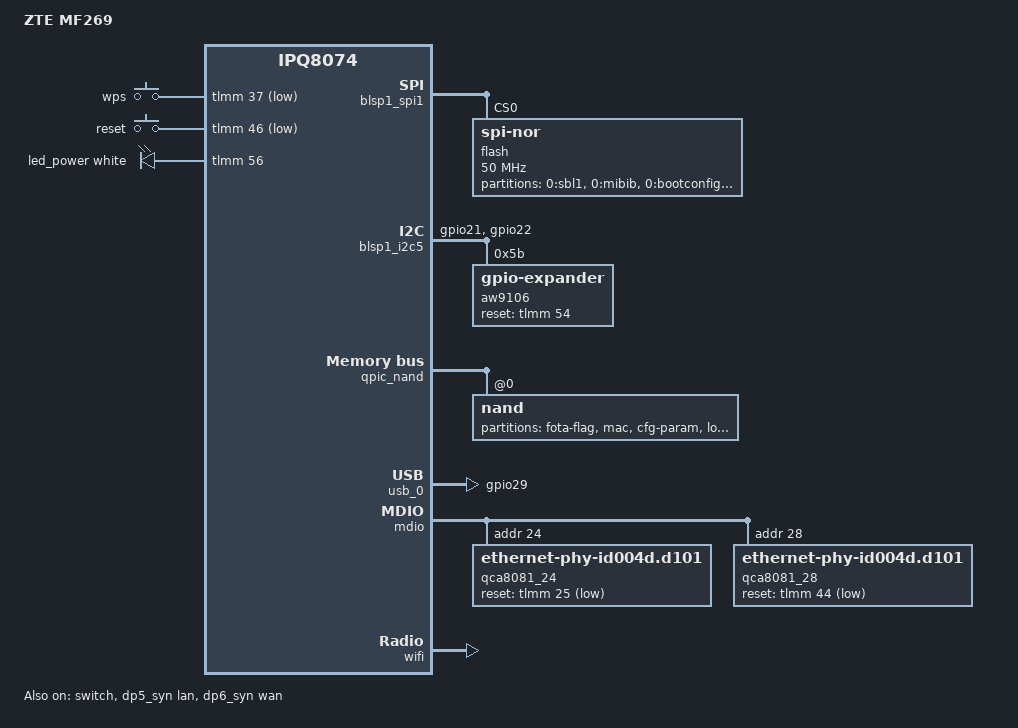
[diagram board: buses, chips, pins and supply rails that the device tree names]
// SPDX-License-Identifier: GPL-2.0-or-later OR MIT

/dts-v1/;

#include "ipq8074.dtsi"
#include "ipq8074-ess.dtsi"
#include "ipq8074-nss.dtsi"
#include "ipq8074-common.dtsi"
#include "ipq8074-ac-cpu.dtsi"

#include <dt-bindings/gpio/gpio.h>
#include <dt-bindings/input/input.h>
#include <dt-bindings/leds/common.h>

/ {
	model = "ZTE MF269";
	compatible = "zte,mf269", "qcom,ipq8074";

	aliases {
		serial0 = &blsp1_uart5;

		led-boot = &led_power;
		led-failsafe = &led_power;
		led-running = &led_power;
		led-upgrade = &led_power;

		label-mac-device = &dp6_syn;
	};

	chosen {
		stdout-path = "serial0:115200n8";
		bootargs-append = " root=/dev/ubiblock0_0";
	};

	keys {
		compatible = "gpio-keys";

		wps {
			label = "wps";
			linux,code = <KEY_WPS_BUTTON>;
			gpios = <&tlmm 37 GPIO_ACTIVE_LOW>;
		};

		reset {
			label = "reset";
			linux,code = <KEY_RESTART>;
			gpios = <&tlmm 46 GPIO_ACTIVE_LOW>;
		};
	};

	leds {
		compatible = "gpio-leds";

		led_power: power {
			function = LED_FUNCTION_POWER;
			color = <LED_COLOR_ID_WHITE>;
			gpios = <&tlmm 56 GPIO_ACTIVE_HIGH>;
		};
	};
};

&tlmm {
	i2c_pins: i2c-pins {
		pins = "gpio21", "gpio22";
		function = "blsp4_i2c1";
		drive-strength = <8>;
		bias-disable;
	};

	usb_pwr_pins: usb-pwr-pins {
		pins = "gpio29";
		function = "gpio";
		drive-strength = <8>;
		bias-disable;
		output-high;
	};
};

&blsp1_spi1 {
	status = "okay";

	flash@0 {
		compatible = "jedec,spi-nor";
		spi-max-frequency = <50000000>;
		reg = <0>;

		partitions {
			compatible = "fixed-partitions";
			#address-cells = <1>;
			#size-cells = <1>;

			partition@0 {
				label = "0:sbl1";
				reg = <0x00000000 0x00050000>;
				read-only;
			};

			partition@50000 {
				label = "0:mibib";
				reg = <0x00050000 0x00010000>;
				read-only;
			};

			partition@60000 {
				label = "0:bootconfig";
				reg = <0x00060000 0x00020000>;
				read-only;
			};

			partition@80000 {
				label = "0:bootconfig1";
				reg = <0x00080000 0x00020000>;
				read-only;
			};

			partition@a0000 {
				label = "0:qsee";
				reg = <0x000a0000 0x00180000>;
				read-only;
			};

			partition@220000 {
				label = "0:qsee_1";
				reg = <0x00220000 0x00180000>;
				read-only;
			};

			partition@3a0000 {
				label = "0:devcfg";
				reg = <0x003a0000 0x00010000>;
				read-only;
			};

			partition@3b0000 {
				label = "0:devcfg_1";
				reg = <0x003b0000 0x00010000>;
				read-only;
			};

			partition@3c0000 {
				label = "0:apdp";
				reg = <0x003c0000 0x00010000>;
				read-only;
			};

			partition@3d0000 {
				label = "0:apdp_1";
				reg = <0x003d0000 0x00010000>;
				read-only;
			};

			partition@3e0000 {
				label = "0:rpm";
				reg = <0x003e0000 0x00040000>;
				read-only;
			};

			partition@420000 {
				label = "0:rpm_1";
				reg = <0x00420000 0x00040000>;
				read-only;
			};

			partition@460000 {
				label = "0:cdt";
				reg = <0x00460000 0x00010000>;
				read-only;
			};

			partition@470000 {
				label = "0:cdt_1";
				reg = <0x00470000 0x00010000>;
				read-only;
			};

			partition@480000 {
				label = "0:appsblenv";
				reg = <0x00480000 0x00010000>;
			};

			partition@490000 {
				label = "0:appsbl";
				reg = <0x00490000 0x000c0000>;
				read-only;
			};

			partition@550000 {
				label = "0:appsbl_1";
				reg = <0x00550000 0x000c0000>;
				read-only;
			};

			partition@610000 {
				label = "0:art";
				reg = <0x00610000 0x00040000>;
				read-only;
			};

			partition@650000 {
				label = "0:ethphyfw";
				reg = <0x00650000 0x00080000>;
				read-only;
			};
		};
	};
};

&blsp1_i2c5 {
	pinctrl-0 = <&i2c_pins>;
	pinctrl-names = "default";
	status = "okay";

	/* No driver exists */
	aw9106: gpio-expander@5b {
		reg = <0x5b>;
		reset-gpios = <&tlmm 54 GPIO_ACTIVE_HIGH>;
	};
};

&qpic_nand {
	status = "okay";

	partitions {
		status = "disabled";
	};

	nand@0 {
		reg = <0>;

		nand-ecc-strength = <4>;
		nand-ecc-step-size = <512>;
		nand-bus-width = <8>;

		partitions {
			compatible = "fixed-partitions";
			#address-cells = <1>;
			#size-cells = <1>;

			partition@0 {
				label = "fota-flag";
				reg = <0x00000000 0x000a0000>;
				read-only;
			};

			partition@a0000 {
				label = "mac";
				reg = <0x000a0000 0x00080000>;
				read-only;

				nvmem-layout {
					compatible = "fixed-layout";
					#address-cells = <1>;
					#size-cells = <1>;

					macaddr_mac_0: macaddr@0 {
						compatible = "mac-base";
						#nvmem-cell-cells = <1>;
						reg = <0x00 0x06>;
					};
				};
			};

			partition@120000 {
				label = "cfg-param";
				reg = <0x00120000 0x01400000>;
				read-only;
			};

			partition@1520000 {
				label = "log";
				reg = <0x01520000 0x00600000>;
				read-only;
			};

			partition@1b20000 {
				label = "oops";
				reg = <0x01b20000 0x000a0000>;
				read-only;
			};

			partition@1bc0000 {
				label = "web";
				reg = <0x01bc0000 0x00800000>;
				read-only;
			};

			partition@23c0000 {
				label = "ubi_kernel";
				reg = <0x023c0000 0x03400000>;
			};

			partition@57c0000 {
				label = "0:wififw";
				reg = <0x057c0000 0x00800000>;
				read-only;
			};

			partition@5fc0000 {
				label = "rootfs";
				reg = <0x05fc0000 0x09a00000>;
			};
		};
	};
};

&usb_0 {
	pinctrl-0 = <&usb_pwr_pins>;
	pinctrl-names = "default";
	status = "okay";
};

&mdio {
	status = "okay";

	pinctrl-0 = <&mdio_pins>;
	pinctrl-names = "default";

	qca8081_24: ethernet-phy@24 {
		compatible = "ethernet-phy-id004d.d101";
		reg = <24>;
		reset-deassert-us = <10000>;
		reset-gpios = <&tlmm 25 GPIO_ACTIVE_LOW>;
	};

	qca8081_28: ethernet-phy@28 {
		compatible = "ethernet-phy-id004d.d101";
		reg = <28>;
		reset-deassert-us = <10000>;
		reset-gpios = <&tlmm 44 GPIO_ACTIVE_LOW>;
	};
};

&switch {
	status = "okay";

	switch_lan_bmp = <ESS_PORT5>;
	switch_wan_bmp = <ESS_PORT6>;
	switch_mac_mode1 = <MAC_MODE_SGMII_PLUS>;
	switch_mac_mode2 = <MAC_MODE_SGMII_PLUS>;

	qcom,port_phyinfo {
		port@5 {
			port_id = <5>;
			phy_address = <24>;
			port_mac_sel = "QGMAC_PORT";
		};

		port@6 {
			port_id = <6>;
			phy_address = <28>;
			port_mac_sel = "QGMAC_PORT";
		};
	};
};

&edma {
	status = "okay";
};

&dp5_syn {
	status = "okay";
	phy-handle = <&qca8081_24>;
	label = "lan";
	nvmem-cell-names = "mac-address";
	nvmem-cells = <&macaddr_mac_0 1>;
};

&dp6_syn {
	status = "okay";
	phy-handle = <&qca8081_28>;
	label = "wan";
	nvmem-cell-names = "mac-address";
	nvmem-cells = <&macaddr_mac_0 0>;
};

&wifi {
	status = "okay";
	qcom,ath11k-fw-memory-mode = <1>;
	qcom,ath11k-calibration-variant = "ZTE-MF269";
};
